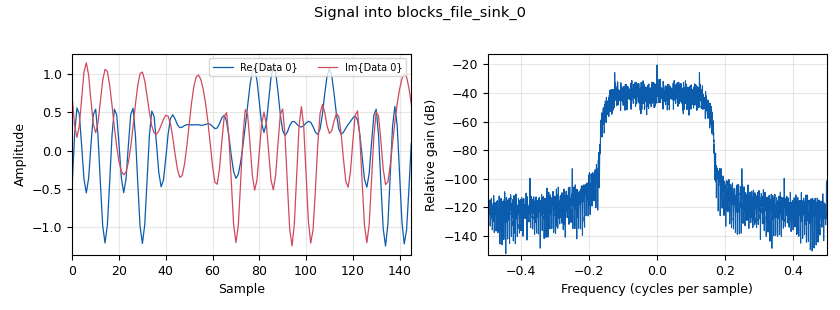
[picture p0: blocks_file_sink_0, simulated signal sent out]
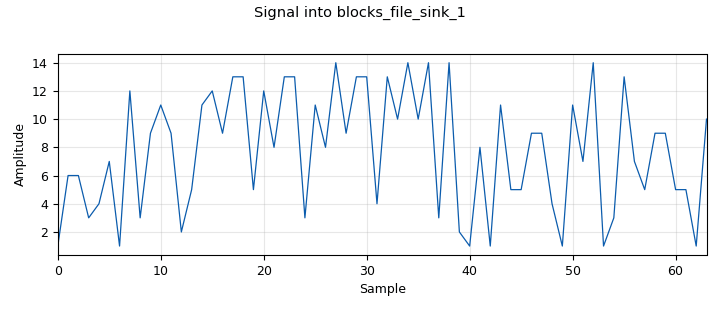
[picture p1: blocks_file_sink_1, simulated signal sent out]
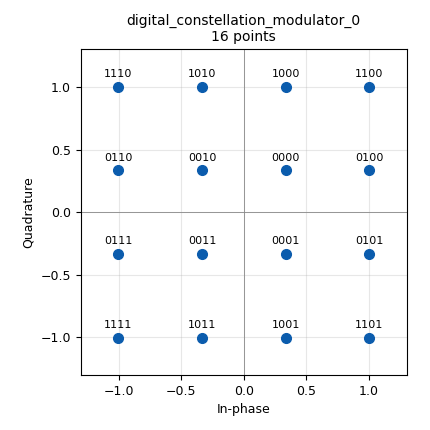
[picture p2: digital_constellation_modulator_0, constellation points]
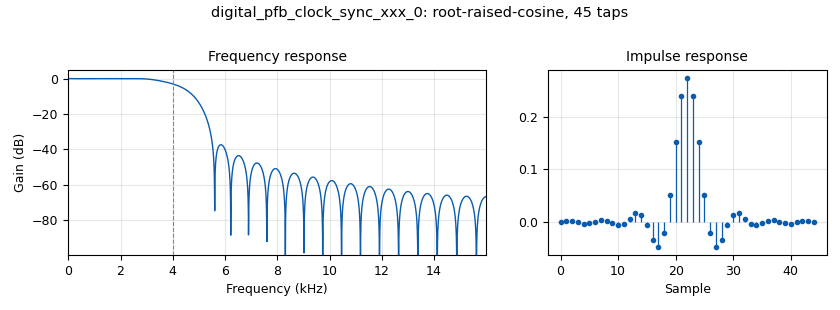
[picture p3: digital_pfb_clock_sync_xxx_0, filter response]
options:
  parameters:
    author: Aneesh
    generate_options: no_gui
    id: qamTransmitter
    output_language: python
    title: qamTransmitter
  states: {}

blocks:
- name: arity
  id: variable
  parameters:
    value: '4'
  states: {}
- name: constel
  id: variable_constellation
  parameters:
    const_points: '[1+1j, 1-1j, -1+1j, -1-1j, 3+1j, 3-1j, -3+1j, -3-1j, 1+3j, 1-3j, -1+3j, -1-3j, 3+3j, 3-3j, -3+3j, -3-3j]'
    dims: '1'
    normalization: digital.constellation.AMPLITUDE_NORMALIZATION
    precision: '8'
    rot_sym: '4'
    soft_dec_lut: '"auto"'
    sym_map: '[0, 1, 2, 3, 4, 5, 6, 7, 8, 9, 10, 11, 12, 13, 14, 15]'
    type: calcdist
  states: {}
- name: excess_bw
  id: variable
  parameters:
    value: '0.350'
  states: {}
- name: nfilts
  id: variable
  parameters:
    value: '32'
  states: {}
- name: rrc_taps
  id: variable
  parameters:
    value: firdes.root_raised_cosine(1.0,samp_rate,samp_rate/sps,excess_bw,11*sps)
  states: {}
- name: samp_rate
  id: variable
  parameters:
    value: '32000'
  states: {}
- name: sps
  id: variable
  parameters:
    value: '4'
  states: {}
- name: analog_random_source_x_0
  id: analog_random_source_x
  parameters:
    max: '15'
    min: '0'
    num_samps: '200'
    repeat: 'True'
    type: byte
  states: {}
- name: blocks_char_to_float_0
  id: blocks_char_to_float
  parameters:
    scale: '1'
  states: {}
- name: blocks_file_sink_0
  id: blocks_file_sink
  parameters:
    file: C:\Users\anees\OneDrive\Documents\SIR\Samples\output.bin
    type: complex
  states: {}
- name: blocks_file_sink_1
  id: blocks_file_sink
  parameters:
    file: C:\Users\anees\OneDrive\Documents\SIR\Samples\input.bin
    type: byte
  states: {}
- name: blocks_file_sink_2
  id: blocks_file_sink
  parameters:
    file: C:\Users\anees\OneDrive\Documents\SIR\Samples\finaloutput.bin
    type: float
  states: {}
- name: blocks_file_sink_3
  id: blocks_file_sink
  parameters:
    file: C:\Users\anees\OneDrive\Documents\SIR\Samples\channeloutput.bin
    type: complex
  states: {}
- name: blocks_file_sink_4
  id: blocks_file_sink
  parameters:
    file: C:\Users\anees\OneDrive\Documents\SIR\Samples\clockoutput.bin
    type: complex
  states: {}
- name: blocks_file_sink_5
  id: blocks_file_sink
  parameters:
    file: C:\Users\anees\OneDrive\Documents\SIR\Samples\softDecodeOutput.bin
    type: float
  states: {}
- name: blocks_throttle2_0
  id: blocks_throttle2
  parameters:
    samples_per_second: samp_rate
    type: byte
  states: {}
- name: channels_channel_model_0
  id: channels_channel_model
  parameters:
    epsilon: '1.0'
    freq_offset: '0.0'
    noise_voltage: '.0001'
    seed: '0'
    taps: '[1.0 + 0j]'
  states: {}
- name: digital_binary_slicer_fb_0
  id: digital_binary_slicer_fb
  parameters: {}
  states: {}
- name: digital_constellation_modulator_0
  id: digital_constellation_modulator
  parameters:
    constellation: constel
    differential: 'False'
    excess_bw: '0.35'
    samples_per_symbol: '4'
  states: {}
- name: digital_constellation_soft_decoder_cf_0
  id: digital_constellation_soft_decoder_cf
  parameters:
    constellation: constel
  states: {}
- name: digital_pfb_clock_sync_xxx_0
  id: digital_pfb_clock_sync_xxx
  parameters:
    filter_size: nfilts
    init_phase: '16'
    loop_bw: '0.0628'
    max_dev: '1.5'
    osps: '2'
    sps: sps
    taps: rrc_taps
    type: ccf
  states: {}
- name: qtgui_const_sink_x_0
  id: qtgui_const_sink_x
  parameters:
    size: '1024'
    type: complex
  states: {state: disabled}
- name: qtgui_time_sink_x_0
  id: qtgui_time_sink_x
  parameters:
    name: '"QAM Reciever Data Points"'
    size: '1024'
    srate: samp_rate
    type: complex
  states: {state: disabled}

connections:
- [analog_random_source_x_0, '0', blocks_throttle2_0, '0']
- [blocks_char_to_float_0, '0', blocks_file_sink_2, '0']
- [blocks_throttle2_0, '0', blocks_file_sink_1, '0']
- [blocks_throttle2_0, '0', digital_constellation_modulator_0, '0']
- [channels_channel_model_0, '0', blocks_file_sink_3, '0']
- [channels_channel_model_0, '0', digital_pfb_clock_sync_xxx_0, '0']
- [digital_binary_slicer_fb_0, '0', blocks_char_to_float_0, '0']
- [digital_constellation_modulator_0, '0', blocks_file_sink_0, '0']
- [digital_constellation_modulator_0, '0', channels_channel_model_0, '0']
- [digital_constellation_soft_decoder_cf_0, '0', blocks_file_sink_5, '0']
- [digital_constellation_soft_decoder_cf_0, '0', digital_binary_slicer_fb_0, '0']
- [digital_pfb_clock_sync_xxx_0, '0', blocks_file_sink_4, '0']
- [digital_pfb_clock_sync_xxx_0, '0', digital_constellation_soft_decoder_cf_0, '0']

metadata:
  file_format: 1
  grc_version: 3.10.6.0
